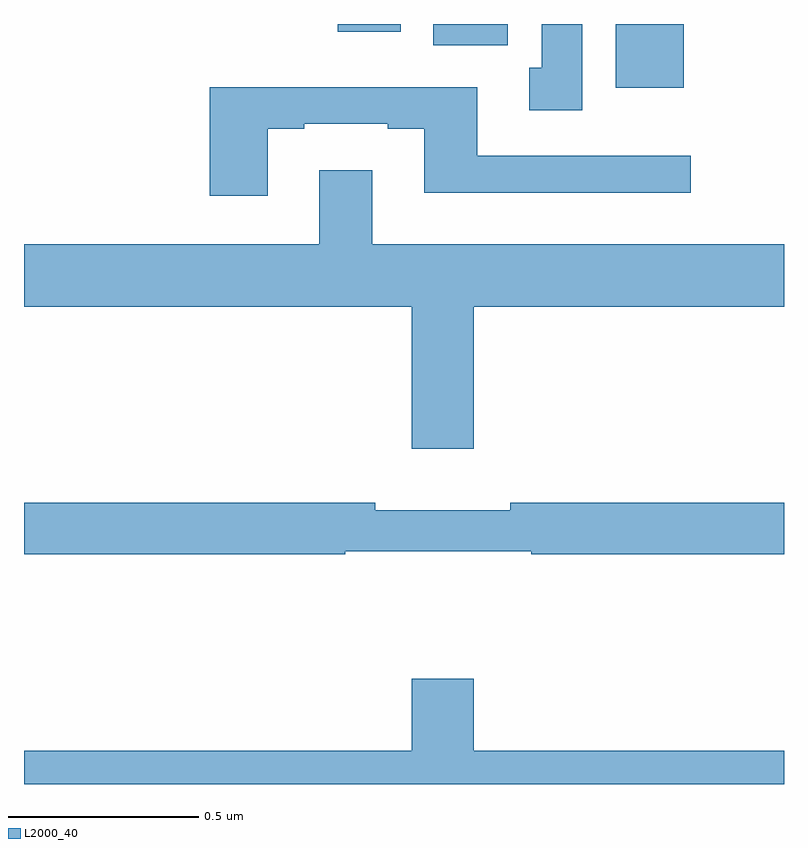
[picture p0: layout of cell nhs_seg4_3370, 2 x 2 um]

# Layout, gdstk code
import gdstk
lib = gdstk.Library(unit=1e-6, precision=1e-09)
def R(c, l, rs):  # rectangles x0, y0, x1, y1
    for r in rs: c.add(gdstk.rectangle(r[:2], r[2:], *l))
def P(c, l, *ps):  # polygons
    for p in ps: c.add(gdstk.Polygon(p, *l))
L2000_40 = (2000, 40)

nhs_seg4_3370 = lib.new_cell('nhs_seg4_3370')
R(nhs_seg4_3370, L2000_40, [(153.557,794.732,153.736,794.9), (153.077,794.844,153.273,794.9), (152.825,794.88,152.992,794.9)])
P(nhs_seg4_3370, L2000_40, [(153.469,794.9),(153.362,794.9),(153.362,794.785),(153.329,794.785),(153.329,794.673),(153.469,794.673)],
  [(152.641,794.625),(152.737,794.625),(152.737,794.637),(152.957,794.637),(152.957,794.625),(153.053,794.625),(153.053,794.456),(153.754,794.456),(153.754,794.553),(153.193,794.553),(153.193,794.734),(152.489,794.734),(152.489,794.448),(152.641,794.448)],
  [(153.184,794.156),(154,794.156),(154,794.32),(152.917,794.32),(152.917,794.515),(152.777,794.515),(152.777,794.32),(152,794.32),(152,794.156),(153.02,794.156),(153.02,793.782),(153.184,793.782)],
  [(152.846,793.512),(153.335,793.512),(153.335,793.504),(154,793.504),(154,793.64),(153.28,793.64),(153.28,793.621),(152.924,793.621),(152.924,793.64),(152,793.64),(152,793.504),(152.846,793.504)],
  [(154,792.988),(153.184,792.988),(153.184,793.177),(153.02,793.177),(153.02,792.988),(152,792.988),(152,792.9),(154,792.9)])

lib.write_gds('nhs_seg4_3370.gds')
